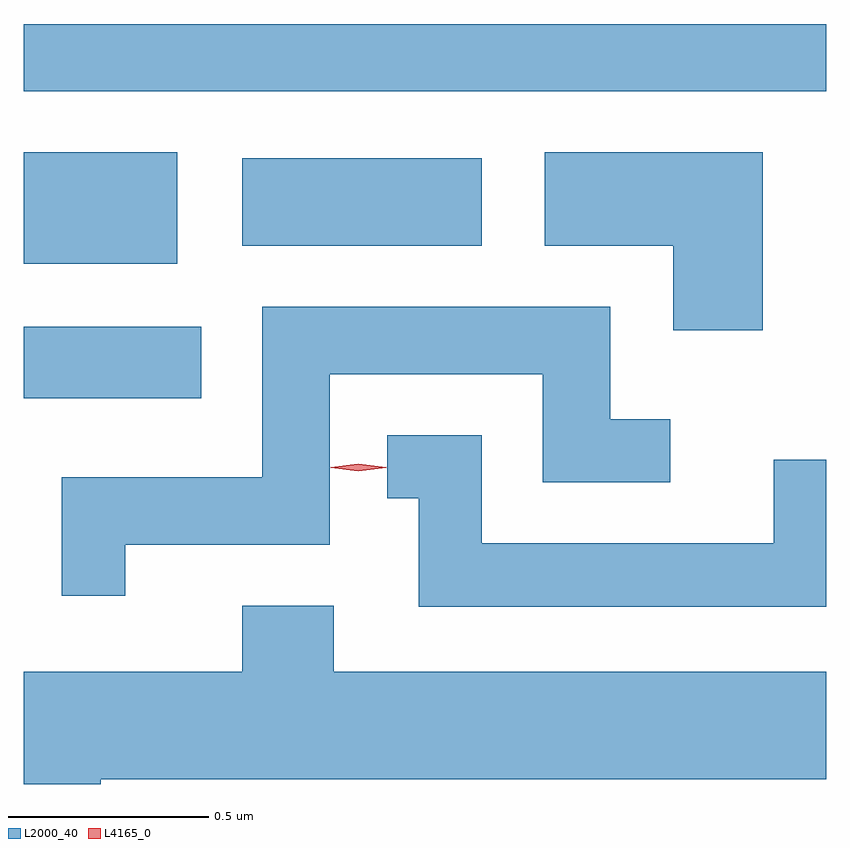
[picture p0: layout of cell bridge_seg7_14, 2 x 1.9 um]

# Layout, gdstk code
import gdstk
lib = gdstk.Library(unit=1e-6, precision=1e-09)
def R(c, l, rs):  # rectangles x0, y0, x1, y1
    for r in rs: c.add(gdstk.rectangle(r[:2], r[2:], *l))
def P(c, l, *ps):  # polygons
    for p in ps: c.add(gdstk.Polygon(p, *l))
L2000_40 = (2000, 40)
L4165_0 = (4165, 0)

bridge_seg7_14 = lib.new_cell('bridge_seg7_14')
R(bridge_seg7_14, L2000_40, [(1667.327,1746.346,1667.769,1746.524), (1667.327,1746.681,1667.709,1746.959), (1667.871,1746.726,1668.469,1746.944), (1667.327,1747.111,1669.327,1747.279)])
P(bridge_seg7_14, L2000_40, [(1669.169,1746.959),(1668.626,1746.959),(1668.626,1746.726),(1668.946,1746.726),(1668.946,1746.516),(1669.169,1746.516)],
  [(1667.579,1745.981),(1668.089,1745.981),(1668.089,1746.406),(1668.621,1746.406),(1668.621,1746.136),(1668.938,1746.136),(1668.938,1746.294),(1668.789,1746.294),(1668.789,1746.574),(1667.921,1746.574),(1667.921,1746.149),(1667.421,1746.149),(1667.421,1745.853),(1667.579,1745.853)],
  [(1669.327,1746.193),(1669.196,1746.193),(1669.196,1745.984),(1668.469,1745.984),(1668.469,1746.254),(1668.233,1746.254),(1668.233,1746.096),(1668.311,1746.096),(1668.311,1745.826),(1669.327,1745.826)],
  [(1667.519,1745.396),(1669.327,1745.396),(1669.327,1745.664),(1668.099,1745.664),(1668.099,1745.829),(1667.871,1745.829),(1667.871,1745.664),(1667.327,1745.664),(1667.327,1745.384),(1667.519,1745.384)])
P(bridge_seg7_14, L4165_0, [(1668.161,1746.164),(1668.092,1746.173),(1668.092,1746.174),(1668.092,1746.174),(1668.161,1746.183),(1668.231,1746.174),(1668.231,1746.173),(1668.231,1746.172)])

lib.write_gds('bridge_seg7_14.gds')
